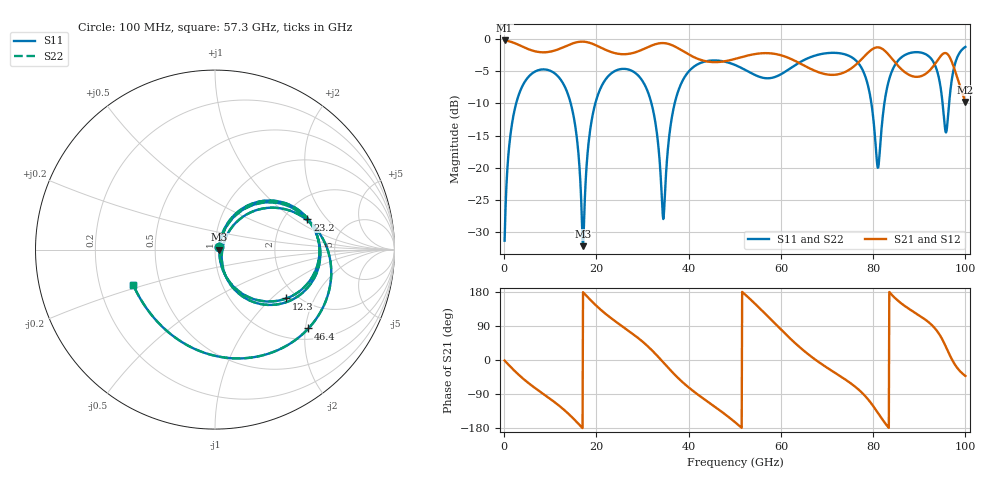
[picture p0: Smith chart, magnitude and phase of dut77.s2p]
! Touchstone file exported from HFSS 2026.1.0
!  File:  C:/ffzhzh/LocalFiles/Ansys_Project_Files/temp_train_TSV_RDL_77_1783450627_50928.aedt
!  Generated:  03:18:34 AM Jul  8, 2026
!  Design:  TSV_RDL
!  Project:  temp_train_TSV_RDL_77_1783450627_50928
! Variables:
!  h_bsmrdl = 2.88um
!  h_ox = 20um
!  h_rdl = 5um
!  h_sub = 67.64um
!  h_tmrdl = 2.37um
!  h_tsv = 67.64um
!  h_via = 3um
!  l_bsmrdl = 478.35um
!  l_sub = 3515.72um
!  l_tmrdl = 388.66um
!  m_sub = 200um
!  pitch = 57.8um
!  r_tsv = 14.41um
!  s_tmrdl = 10um
!  w_bsmrdl = 12.23um
!  w_sub = 500um
!  w_tmrdl = 29.78um
!  x_tsv_center1 = 403.55um
!  x_tsv_center2 = 894.13um
!  x_tsv_center3 = 1312.57um
!  x_tsv_center4 = 1803.15um
!  x_tsv_center5 = 2221.59um
!  x_tsv_center6 = 2712.17um
# GHz S MA R 50.000000
! Terminal data exported
! Port[1] = TM_RDL1_1_T1
! Port[2] = TM_RDL5_1_T1
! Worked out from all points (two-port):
!   1000 points, 100 MHz to 100 GHz, reference 50 ohm
!   highest |S21| = -0.20 dB at 100 MHz (marker M1); lowest = -9.7 dB at 100 GHz (marker M2)
!   |S21| within 3 dB of the highest: start of sweep to 42.54 GHz; 49.35 GHz to 62.57 GHz (13.22 GHz wide, 23.6 % of centre) (the widest 2 of 4)
!   lowest |S11| = -32.2 dB at 17.1 GHz (marker M3), VSWR 1.05, Z = 52.5 - j0.022 ohm
!   |S11| at or under -10 dB: 14.44 GHz to 19.76 GHz (5.316 GHz wide, 31.1 % of centre); 31.94 GHz to 36.97 GHz (5.023 GHz wide, 14.6 % of centre); 79.62 GHz to 82.43 GHz (2.806 GHz wide, 3.46 % of centre) (the widest 3 of 5)
!   |S22| runs from -31.8 to -1.2 dB; largest |S21 - S12| = 1.7e-14
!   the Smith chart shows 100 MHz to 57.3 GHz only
!   S11 on the Smith chart (normalised r, x): 100 MHz: 1.05, +0.03; 12.3 GHz: 1.76, -1.25; 23.2 GHz: 2.68, +1.27; 46.4 GHz: 1.27, -2.08; 57.3 GHz: 0.35, -0.18
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0.1  0.02713 30.7  0.9769 -1.4  0.9769 -1.4  0.02713 30.7
! Gamma 0 0 0 0
! Port Impedance 50 0 50 0
3.5  0.3971 43.4  0.8909 -42.7  0.8909 -42.7  0.3971 43.4
12.3  0.4822 -34.4  0.849 -124.4  0.849 -124.4  0.4822 -34.3
16.8  0.04529 -55.9  0.9567 -177.2  0.9567 -177.2  0.04585 -54.8
17.1  0.02461 -0.5  0.9565 179.0  0.9565 179.0  0.02566 -0.5
19.2  0.2587 56.1  0.9185 152.5  0.9185 152.5  0.2589 55.9
23.2  0.5412 18.1  0.7944 110.3  0.7944 110.3  0.5412 18.0
33.4  0.1516 -68.1  0.9252 8.5  0.9252 8.5  0.1516 -67.9
34.6  0.04208 9.4  0.9321 -7.5  0.9321 -7.5  0.04244 9.2
38.6  0.469 27.7  0.814 -57.6  0.814 -57.6  0.4691 27.6
46.4  0.6811 -40.2  0.664 -129.7  0.664 -129.7  0.6812 -40.2
50.1  0.629 -74.0  0.7027 -164.5  0.7027 -164.5  0.6291 -73.9
57.3  0.4964 -156.8  0.7779 113.5  0.7779 113.5  0.4965 -156.6
66.7  0.731 95.9  0.5819 7.8  0.5819 7.8  0.7309 96.1
74.3  0.7536 37.1  0.5643 -54.3  0.5643 -54.3  0.7535 37.2
78.9  0.4335 -3.8  0.7854 -103.9  0.7854 -103.9  0.4335 -3.7
81  0.1001 34.6  0.8639 -139.0  0.8639 -139.0  0.1011 34.8
83.4  0.477 80.2  0.7537 -179.1  0.7537 -179.1  0.4773 80.1
90  0.7903 27.9  0.5115 117.6  0.5115 117.6  0.7905 28.0
94.3  0.4902 -6.2  0.7116 68.8  0.7116 68.8  0.4906 -6.1
96.5  0.3259 68.3  0.7346 15.7  0.7346 15.7  0.3264 68.1
100  0.8711 39.6  0.3257 -42.1  0.3257 -42.1  0.8711 39.5
